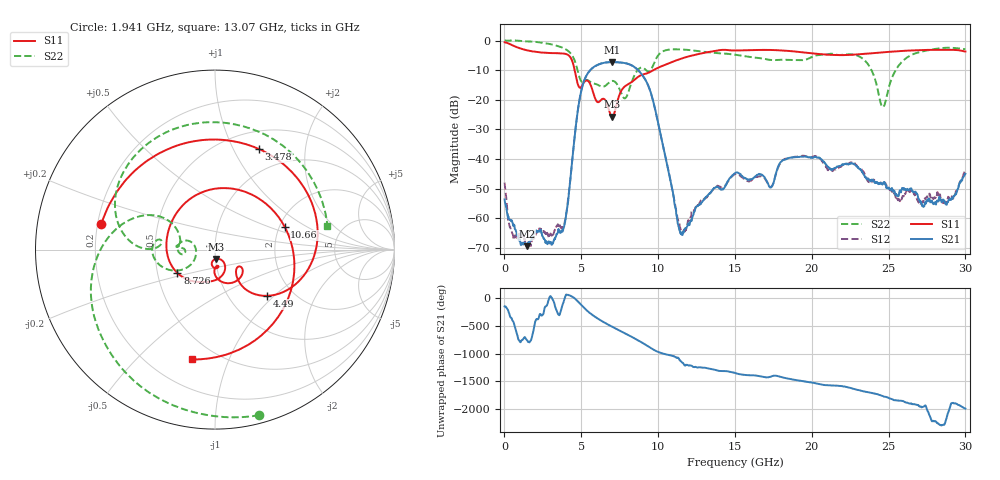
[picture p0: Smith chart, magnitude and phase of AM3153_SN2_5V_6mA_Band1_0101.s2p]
!Agilent Technologies,E8364B,MY43040894,A.07.50.67
!Agilent E8364B: A.07.50.67
!Date: Tuesday, May 12, 2020 09:44:18
!Correction: S11(Full 2 Port(1,2))
!S21(Full 2 Port(1,2))
!S12(Full 2 Port(1,2))
!S22(Full 2 Port(1,2))
!S2P File: Measurements: S11, S21, S12, S22:
# Hz S  dB  R 50
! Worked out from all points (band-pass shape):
!   1601 points, 10 MHz to 30 GHz, reference 50 ohm
!   highest |S21| = -7.27 dB at 6.983 GHz (marker M1); lowest = -69.4 dB at 1.453 GHz (marker M2)
!   |S21| within 3 dB of the highest: 5.536 GHz to 8.753 GHz (3.217 GHz wide, 45 % of centre)
!   lowest |S11| = -25.7 dB at 7.001 GHz (marker M3), VSWR 1.11, Z = 50.4 - j5.21 ohm
!   |S11| at or under -10 dB: 4.568 GHz to 9.689 GHz (5.121 GHz wide, 71.8 % of centre)
!   |S22| runs from -22.5 to 0.0 dB; largest |S21 - S12| = 0.0047
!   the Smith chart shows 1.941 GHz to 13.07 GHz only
!   S11 on the Smith chart (normalised r, x): 1.941 GHz: 0.22, +0.11; 3.478 GHz: 0.71, +1.27; 4.49 GHz: 1.49, -0.90; 8.726 GHz: 0.64, -0.18; 10.66 GHz: 2.14, +0.65; 13.07 GHz: 0.37, -0.74
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1e7  -0.59 -10.1  -53.64 -145.8  -47.95 -59.6  0.01 -2.2
1.453269e9  -3.28 -159.3  -69.42 -30.7  -68.91 -79.6  -0.30 -56.1
1.940606e9  -3.76 167.1  -65.12 -142.1  -66.83 33.6  -0.41 -75.0
3.477594e9  -4.27 66.4  -64.71 82.1  -62.04 -94.4  -1.86 -139.3
4.489756e9  -8.23 -41.7  -36.37 17.0  -36.22 17.4  -5.79 162.0
5.014581e9  -15.57 -34.3  -16.59 -124.3  -16.60 -124.0  -13.84 162.8
6.120462e9  -20.79 -80.4  -8.08 -13.6  -8.10 -13.4  -15.07 177.8
6.982675e9  -25.64 -84.7  -7.27 -149.0  -7.29 -148.8  -13.65 -179.7
7.001419e9  -25.68 -82.4  -7.27 -151.7  -7.29 -151.5  -13.63 179.4
8.725844e9  -12.16 -147.9  -10.12 -43.1  -10.18 -42.5  -9.65 -167.0
1.001916e10  -9.12 77.7  -28.21 110.1  -28.35 111.3  -4.91 163.4
1.065645e10  -7.77 18.0  -43.58 58.7  -43.57 60.9  -3.11 122.8
1.151866e10  -6.08 -37.3  -65.44 -63.9  -64.82 -6.5  -3.02 79.4
1.307439e10  -4.08 -101.9  -53.17 -174.5  -53.16 179.3  -3.86 12.1
1.5005e10  -3.36 -164.6  -44.72 91.2  -45.11 89.2  -4.77 -64.7
1.796651e10  -3.33 107.7  -41.10 23.0  -41.39 25.9  -6.50 172.5
2.000958e10  -4.31 33.1  -39.54 -81.1  -39.32 -81.8  -5.54 26.9
2.132164e10  -4.86 -21.2  -43.51 -132.9  -44.04 -132.2  -4.45 -76.9
2.283989e10  -4.74 -84.0  -41.98 157.1  -41.75 154.7  -4.89 -162.7
2.501416e10  -3.82 -160.8  -49.63 -1.5  -49.81 -4.9  -15.87 -85.9
2.728216e10  -3.20 135.2  -56.11 -152.0  -54.17 -77.1  -3.57 169.3
3e10  -3.71 75.6  -45.00 168.7  -43.82 163.7  -2.92 92.4
